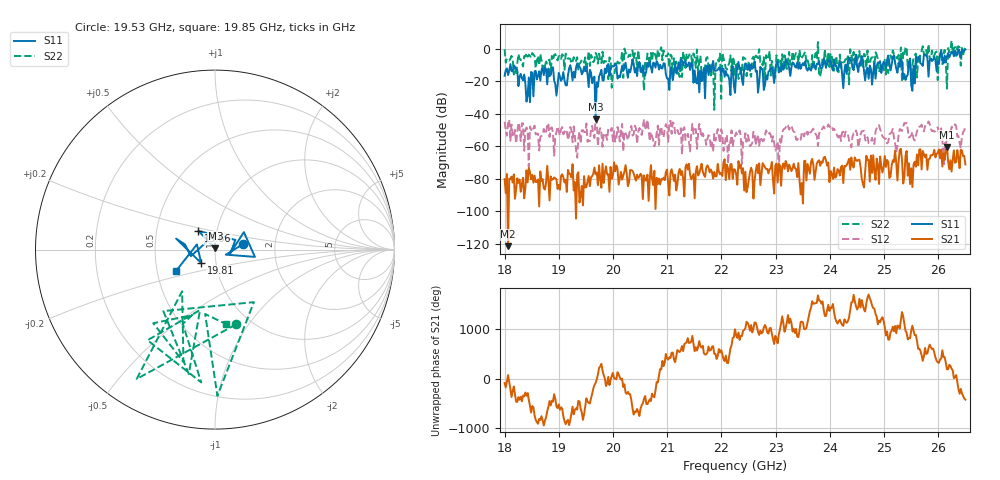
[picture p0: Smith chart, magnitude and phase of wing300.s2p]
!Keysight Technologies,N5242B,MY47200105,A.14.00.23
!Date: Friday, May 10, 2024 11:16:59
!Correction: S11(C  2-Port  )
!S21(C  2-Port  )
!S12(C  2-Port  )
!S22(C  2-Port  )
!S2P File: Measurement: :
# Hz S  RI  R 50
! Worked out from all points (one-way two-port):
!   401 points, 18 GHz to 26.5 GHz, reference 50 ohm
!   highest |S21| = -60.38 dB at 26.16 GHz (marker M1); lowest = -121.4 dB at 18.06 GHz (marker M2)
!   lowest |S11| = -43.3 dB at 19.68 GHz (marker M3), VSWR 1.01, Z = 50.2 + j0.649 ohm
!   |S11| at or under -10 dB: 18.11 GHz to 19.33 GHz (1.221 GHz wide, 6.52 % of centre); 19.35 GHz to 19.9 GHz (551.2 MHz wide, 2.81 % of centre); 21.86 GHz to 22.3 GHz (444.9 MHz wide, 2.01 % of centre) (the widest 3 of 57)
!   |S22| runs from -37.5 to 5.1 dB; largest |S21 - S12| = 0.0073
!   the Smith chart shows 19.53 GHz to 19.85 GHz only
!   S11 on the Smith chart (normalised r, x): 19.53 GHz: 1.37, +0.09; 19.66 GHz: 0.81, +0.17; 19.81 GHz: 0.85, -0.13; 19.85 GHz: 0.63, -0.16
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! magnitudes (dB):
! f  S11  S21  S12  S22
! 18 GHz  -16.6  -80.2  -44.9  -0.3
! 18.06 GHz  -16.2  -121.4  -45.6  -6.9
! 18.43 GHz  -28.8  -82.2  -50.4  -4.9
! 19.42 GHz  -15.7  -84.4  -50.1  -6.5
! 19.53 GHz  -15.9  -81.7  -57.3  -7.3
! 19.66 GHz  -17.1  -73.0  -54.8  -6.9
! 19.68 GHz  -43.3  -77.2  -42.9  -2.6
! 19.81 GHz  -19.4  -70.7  -60.3  -1.8
! 19.85 GHz  -12.2  -76.3  -54.3  -7.6
! 20.55 GHz  -10.3  -92.4  -48.4  -13.7
! 20.85 GHz  -12.7  -79.8  -59.2  -4.5
! 21.23 GHz  -12.6  -73.9  -52.5  -17.4
! 21.4 GHz  -8.3  -70.7  -56.6  -4.2
! 22.25 GHz  -27.1  -74.4  -53.7  -16.0
! 22.87 GHz  -14.1  -76.7  -52.8  -6.6
! 23.02 GHz  -8.6  -70.6  -61.3  -4.1
! 23.18 GHz  -6.5  -69.0  -48.5  -6.6
! 23.67 GHz  -10.8  -67.7  -50.1  -3.9
! 25.1 GHz  -9.0  -79.5  -52.7  -6.1
! 25.52 GHz  -25.8  -85.0  -51.2  -10.1
! 26.16 GHz  -4.7  -60.4  -52.4  -24.5
! 26.5 GHz  -0.5  -71.2  -47.4  0.4
